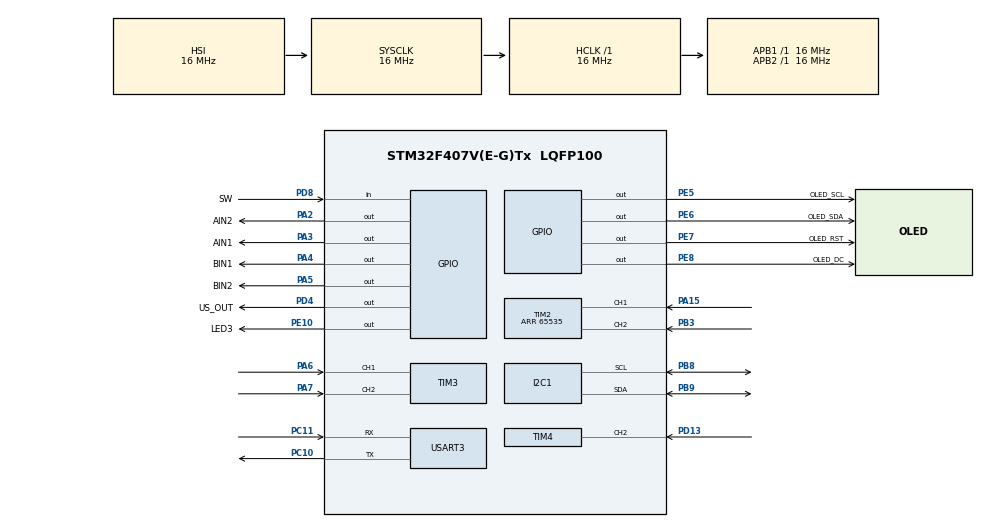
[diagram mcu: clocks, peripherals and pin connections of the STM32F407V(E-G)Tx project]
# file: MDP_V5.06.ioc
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Dma.Request0=USART3_RX
Dma.USART3_RX.0.Direction=DMA_PERIPH_TO_MEMORY
Dma.USART3_RX.0.FIFOMode=DMA_FIFOMODE_DISABLE
Dma.USART3_RX.0.Instance=DMA1_Stream1
Dma.USART3_RX.0.MemDataAlignment=DMA_MDATAALIGN_BYTE
Dma.USART3_RX.0.MemInc=DMA_MINC_ENABLE
Dma.USART3_RX.0.Mode=DMA_CIRCULAR
Dma.USART3_RX.0.PeriphDataAlignment=DMA_PDATAALIGN_BYTE
Dma.USART3_RX.0.PeriphInc=DMA_PINC_DISABLE
Dma.USART3_RX.0.Priority=DMA_PRIORITY_LOW
FREERTOS.Tasks01=defaultTask,8,128,StartDefaultTask,Default,NULL,Dynamic,NULL,NULL;DisplayTask,8,128,Display,Default,NULL,Dynamic,NULL,NULL;Motor_L,8,1024,LeftMotor,Default,NULL,Dynamic,NULL,NULL;GyroTask,8,1024,GyroFunc,Default,NULL,Dynamic,NULL,NULL;Ultrasonic,8,128,sonic_sensor,Default,NULL,Dynamic,NULL,NULL
Mcu.Family=STM32F4
Mcu.Name=STM32F407V(E-G)Tx
Mcu.Package=LQFP100
NVIC.DMA1_Stream1_IRQn=true\:5\:0\:false\:false\:true\:true\:false\:true
NVIC.PriorityGroup=NVIC_PRIORITYGROUP_4
NVIC.TIM4_IRQn=true\:5\:0\:false\:false\:true\:true\:true\:true
NVIC.USART3_IRQn=true\:5\:0\:false\:false\:true\:true\:true\:true
PA15.Signal=S_TIM2_CH1_ETR
PA2.GPIO_Label=AIN2
PA2.Signal=GPIO_Output
PA3.GPIO_Label=AIN1
PA3.Signal=GPIO_Output
PA4.GPIO_Label=BIN1
PA4.Signal=GPIO_Output
PA5.GPIO_Label=BIN2
PA5.Signal=GPIO_Output
PA6.Signal=S_TIM3_CH1
PA7.Signal=S_TIM3_CH2
PB3.Signal=S_TIM2_CH2
PB8.Mode=I2C
PB8.Signal=I2C1_SCL
PB9.Mode=I2C
PB9.Signal=I2C1_SDA
PC10.Mode=Asynchronous
PC10.Signal=USART3_TX
PC11.Mode=Asynchronous
PC11.Signal=USART3_RX
PC6.GPIO_Label=PWMA
PC6.Signal=S_TIM8_CH1
PC7.GPIO_Label=PWMB
PC7.Signal=S_TIM8_CH2
PD13.Signal=S_TIM4_CH2
PD4.GPIO_Label=US_OUT
PD4.Signal=GPIO_Output
PD8.GPIO_Label=SW
PD8.Signal=GPIO_Input
PE10.GPIO_Label=LED3
PE10.Signal=GPIO_Output
PE14.GPIO_Label=Servo
PE14.Signal=S_TIM1_CH4
PE5.GPIO_Label=OLED_SCL
PE5.Signal=GPIO_Output
PE6.GPIO_Label=OLED_SDA
PE6.Signal=GPIO_Output
PE7.GPIO_Label=OLED_RST
PE7.Signal=GPIO_Output
PE8.GPIO_Label=OLED_DC
PE8.Signal=GPIO_Output
PH0-OSC_IN.Mode=HSE-External-Oscillator
PH0-OSC_IN.Signal=RCC_OSC_IN
PH1-OSC_OUT.Mode=HSE-External-Oscillator
PH1-OSC_OUT.Signal=RCC_OSC_OUT
ProjectManager.HeapSize=0x200
ProjectManager.StackSize=0x400
ProjectManager.TargetToolchain=STM32CubeIDE
RCC.AHBFreq_Value=16000000
RCC.APB1Freq_Value=16000000
RCC.APB2Freq_Value=16000000
RCC.CortexFreq_Value=16000000
RCC.HSE_VALUE=25000000
RCC.HSI_VALUE=16000000
RCC.LSE_VALUE=32768
RCC.SYSCLKFreq_VALUE=16000000
RCC.VCOOutputFreq_Value=192000000
SH.S_TIM1_CH4.0=TIM1_CH4
SH.S_TIM2_CH1_ETR.0=TIM2_CH1,Encoder_Interface
SH.S_TIM2_CH2.0=TIM2_CH2,Encoder_Interface
SH.S_TIM3_CH1.0=TIM3_CH1,Encoder_Interface
SH.S_TIM3_CH2.0=TIM3_CH2,Encoder_Interface
SH.S_TIM4_CH2.0=TIM4_CH2,Input_Capture2_from_TI2
SH.S_TIM8_CH1.0=TIM8_CH1
SH.S_TIM8_CH2.0=TIM8_CH2
TIM1.Channel-PWM\ Generation4\ No\ Output=TIM_CHANNEL_4
TIM1.Period=1000
TIM1.Prescaler=160
TIM2.EncoderMode=TIM_ENCODERMODE_TI12
TIM2.IC1Filter=10
TIM2.IC2Filter=10
TIM2.Period=65535
TIM3.EncoderMode=TIM_ENCODERMODE_TI12
TIM3.IC1Filter=10
TIM3.IC2Filter=10
TIM4.Channel-Input_Capture2_from_TI2=TIM_CHANNEL_2
TIM4.Prescaler=16
TIM8.Channel-PWM\ Generation1\ No\ Output=TIM_CHANNEL_1
TIM8.Channel-PWM\ Generation2\ No\ Output=TIM_CHANNEL_2
TIM8.Period=7199
USART3.VirtualMode=VM_ASYNC
VP_FREERTOS_VS_CMSIS_V2.Mode=CMSIS_V2
VP_TIM1_VS_ClockSourceINT.Mode=Internal
VP_TIM1_VS_no_output4.Mode=PWM Generation4 No Output
VP_TIM8_VS_ClockSourceINT.Mode=Internal
VP_TIM8_VS_no_output1.Mode=PWM Generation1 No Output
VP_TIM8_VS_no_output2.Mode=PWM Generation2 No Output
board=custom

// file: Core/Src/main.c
/* USER CODE BEGIN Header */
/**
  ******************************************************************************
  * @file           : main.c
  * @brief          : Main program body
  ******************************************************************************
  * @attention
  *
  * Copyright (c) 2022 STMicroelectronics.
  * All rights reserved.
  *
  * This software is licensed under terms that can be found in the LICENSE file
  * in the root directory of this software component.
  * If no LICENSE file comes with this software, it is provided AS-IS.
  *
  ******************************************************************************
  */
/* USER CODE END Header */
#include "main.h"
#include "cmsis_os.h"

/* USER CODE BEGIN Includes */
#include "oled.h"
#include "ICM20948.h"
#include "math.h"
#include "pid.h"
#include "stdio.h"
/* USER CODE END Includes */

I2C_HandleTypeDef hi2c1;

TIM_HandleTypeDef htim1;
TIM_HandleTypeDef htim2;
TIM_HandleTypeDef htim3;
TIM_HandleTypeDef htim4;
TIM_HandleTypeDef htim8;

UART_HandleTypeDef huart3;
DMA_HandleTypeDef hdma_usart3_rx;

/* Definitions for defaultTask */
osThreadId_t defaultTaskHandle;
const osThreadAttr_t defaultTask_attributes =
{
    .name = "defaultTask",
    .stack_size = 128 * 4,
    .priority = (osPriority_t) osPriorityLow,
};
/* Definitions for DisplayTask */
osThreadId_t DisplayTaskHandle;
const osThreadAttr_t DisplayTask_attributes =
{
    .name = "DisplayTask",
    .stack_size = 128 * 4,
    .priority = (osPriority_t) osPriorityLow,
};
/* Definitions for Motor_L */
osThreadId_t Motor_LHandle;
const osThreadAttr_t Motor_L_attributes =
{
    .name = "Motor_L",
    .stack_size = 1024 * 4,
    .priority = (osPriority_t) osPriorityLow,
};
/* Definitions for GyroTask */
osThreadId_t GyroTaskHandle;
const osThreadAttr_t GyroTask_attributes =
{
    .name = "GyroTask",
    .stack_size = 1024 * 4,
    .priority = (osPriority_t) osPriorityLow,
};
/* Definitions for Ultrasonic */
osThreadId_t UltrasonicHandle;
const osThreadAttr_t Ultrasonic_attributes =
{
    .name = "Ultrasonic",
    .stack_size = 128 * 4,
    .priority = (osPriority_t) osPriorityLow,
};

void SystemClock_Config(void);
static void MX_GPIO_Init(void);
static void MX_DMA_Init(void);
static void MX_TIM8_Init(void);
static void MX_TIM2_Init(void);
static void MX_TIM1_Init(void);
static void MX_USART3_UART_Init(void);
static void MX_TIM3_Init(void);
static void MX_I2C1_Init(void);
static void MX_TIM4_Init(void);
void StartDefaultTask(void *argument);
void Display(void *argument);
void LeftMotor(void *argument);
void GyroFunc(void *argument);
void sonic_sensor(void *argument);

/* USER CODE BEGIN 0 */
double right_ratio = 0.4862681447, left_ratio = 0.46911519198;
uint16_t pwmVal = 12000, pwmVal_Turn = 4000;
double min_pwm_ratio = 0.3, min_pwm_turn = 0.3, max_pwm_dif = 0.5;
uint8_t Buffer[5];
int32_t heading_rbt = 0;
int32_t t_heading = 0;
double current_angle = 0, current_gyro = 0;

uint8_t is_calibrated = 0;

double travel_dist = 0;
int32_t encoder_position = 0;
ICM20948 imu;

PID_TypeDef Turning_PID, Straight_PID, StraightErr_PID;

uint32_t IC_Val1 = 0;
uint32_t IC_Val2 = 0;
uint32_t Difference = 0;
uint32_t Distance = 0;
uint32_t prevDistance[4] = {0};
uint8_t Is_First_Captured = 0;  // is the first value captured ?

void delay(uint16_t time)
{
    __HAL_TIM_SET_COUNTER(&htim4, 0);
    while (__HAL_TIM_GET_COUNTER (&htim4) < time);
}

void HAL_TIM_IC_CaptureCallback(TIM_HandleTypeDef *htim)
{
    if (htim->Channel == HAL_TIM_ACTIVE_CHANNEL_2)  // if the interrupt source is channel2
    {
        if (Is_First_Captured == 0) // if the first value is not captured
        {
            IC_Val1 = HAL_TIM_ReadCapturedValue(htim, TIM_CHANNEL_2); // read the first value
            Is_First_Captured = 1;  // set the first captured as true
            // Now change the polarity to falling edge
            __HAL_TIM_SET_CAPTUREPOLARITY(htim, TIM_CHANNEL_2, TIM_INPUTCHANNELPOLARITY_FALLING);
        }

        else if (Is_First_Captured == 1) // if the first is already captured
        {
            IC_Val2 = HAL_TIM_ReadCapturedValue(htim, TIM_CHANNEL_2);  // read second value
            __HAL_TIM_SET_COUNTER(htim, 0);  // reset the counter

            if (IC_Val2 > IC_Val1)
            {
                Difference = IC_Val2 - IC_Val1;
            }

            else if (IC_Val1 > IC_Val2)
            {
                Difference = (0xffff - IC_Val1) + IC_Val2;
            }
            prevDistance[2] = prevDistance[1];
            prevDistance[1] = prevDistance[0];
            prevDistance[0] = Difference * .034 / 2.0 * 150.0/137.0;

            // median filter
            if(prevDistance[1] <= prevDistance[0] && prevDistance[1] >= prevDistance[2])Distance = prevDistance[1];
			else if(prevDistance[1] <= prevDistance[2] && prevDistance[1] >= prevDistance[0])Distance = prevDistance[1];

			else if(prevDistance[0] <= prevDistance[2] && prevDistance[0] >= prevDistance[1])Distance = prevDistance[0];
			else if(prevDistance[0] <= prevDistance[2] && prevDistance[0] >= prevDistance[1])Distance = prevDistance[0];

			else if(prevDistance[2] <= prevDistance[0] && prevDistance[2] >= prevDistance[1])Distance = prevDistance[2];
			else Distance = prevDistance[2];

            Is_First_Captured = 0; // set it back to false

            // set polarity to rising edge
            __HAL_TIM_SET_CAPTUREPOLARITY(htim, TIM_CHANNEL_2, TIM_INPUTCHANNELPOLARITY_RISING);
            __HAL_TIM_DISABLE_IT(&htim4, TIM_IT_CC2);
        }
    }
}

void HCSR04_Read(void)
{
    HAL_GPIO_WritePin(US_OUT_GPIO_Port, US_OUT_Pin, GPIO_PIN_SET);  // pull the TRIG pin HIGH
    delay(10);  // wait for 10 us
    HAL_GPIO_WritePin(US_OUT_GPIO_Port, US_OUT_Pin, GPIO_PIN_RESET);  // pull the TRIG pin low

    __HAL_TIM_ENABLE_IT(&htim4, TIM_IT_CC2);
}
/* USER CODE END 0 */

int main(void)
{

    /* MCU Configuration--------------------------------------------------------*/

    /* Reset of all peripherals, Initializes the Flash interface and the Systick. */
    HAL_Init();

    /* USER CODE BEGIN Init */

    Buffer[0] = 'F';
    Buffer[1] = 'W';
    Buffer[2] = '0';
    Buffer[3] = '9';
    Buffer[4] = 'd';

    /* USER CODE END Init */

    /* Configure the system clock */
    SystemClock_Config();

    /* Initialize all configured peripherals */
    MX_GPIO_Init();
    MX_DMA_Init();
    MX_TIM8_Init();
    MX_TIM2_Init();
    MX_TIM1_Init();
    MX_USART3_UART_Init();
    MX_TIM3_Init();
    MX_I2C1_Init();
    MX_TIM4_Init();
    /* USER CODE BEGIN 2 */
    OLED_Init();
    CoreDebug->DEMCR |= CoreDebug_DEMCR_TRCENA_Msk;
    DWT->CYCCNT = 0;
    DWT->CTRL |= DWT_CTRL_CYCCNTENA_Msk;
    HAL_TIM_IC_Start_IT(&htim4, TIM_CHANNEL_2);
    /* USER CODE END 2 */

    /* Init scheduler */
    osKernelInitialize();

    /* Create the thread(s) */
    /* creation of defaultTask */
    defaultTaskHandle = osThreadNew(StartDefaultTask, NULL, &defaultTask_attributes);

    /* creation of DisplayTask */
    DisplayTaskHandle = osThreadNew(Display, NULL, &DisplayTask_attributes);

    /* creation of Motor_L */
    Motor_LHandle = osThreadNew(LeftMotor, NULL, &Motor_L_attributes);

    /* creation of GyroTask */
    GyroTaskHandle = osThreadNew(GyroFunc, NULL, &GyroTask_attributes);

    /* creation of Ultrasonic */
    UltrasonicHandle = osThreadNew(sonic_sensor, NULL, &Ultrasonic_attributes);

    /* Start scheduler */
    osKernelStart();

    /* We should never get here as control is now taken by the scheduler */
    /* Infinite loop */
    while (1)
    {

    }
}

void SystemClock_Config(void)
{
    RCC_OscInitTypeDef RCC_OscInitStruct = {0};
    RCC_ClkInitTypeDef RCC_ClkInitStruct = {0};

    /** Configure the main internal regulator output voltage
    */
    __HAL_RCC_PWR_CLK_ENABLE();
    __HAL_PWR_VOLTAGESCALING_CONFIG(PWR_REGULATOR_VOLTAGE_SCALE1);
    /** Initializes the RCC Oscillators according to the specified parameters
    * in the RCC_OscInitTypeDef structure.
    */
    RCC_OscInitStruct.OscillatorType = RCC_OSCILLATORTYPE_HSI;
    RCC_OscInitStruct.HSIState = RCC_HSI_ON;
    RCC_OscInitStruct.HSICalibrationValue = RCC_HSICALIBRATION_DEFAULT;
    RCC_OscInitStruct.PLL.PLLState = RCC_PLL_NONE;
    if (HAL_RCC_OscConfig(&RCC_OscInitStruct) != HAL_OK)
    {
        Error_Handler();
    }
    /** Initializes the CPU, AHB and APB buses clocks
    */
    RCC_ClkInitStruct.ClockType = RCC_CLOCKTYPE_HCLK | RCC_CLOCKTYPE_SYSCLK
                                  | RCC_CLOCKTYPE_PCLK1 | RCC_CLOCKTYPE_PCLK2;
    RCC_ClkInitStruct.SYSCLKSource = RCC_SYSCLKSOURCE_HSI;
    RCC_ClkInitStruct.AHBCLKDivider = RCC_SYSCLK_DIV1;
    RCC_ClkInitStruct.APB1CLKDivider = RCC_HCLK_DIV1;
    RCC_ClkInitStruct.APB2CLKDivider = RCC_HCLK_DIV1;

    if (HAL_RCC_ClockConfig(&RCC_ClkInitStruct, FLASH_LATENCY_0) != HAL_OK)
    {
        Error_Handler();
    }
}

static void MX_I2C1_Init(void)
{

    hi2c1.Instance = I2C1;
    hi2c1.Init.ClockSpeed = 100000;
    hi2c1.Init.DutyCycle = I2C_DUTYCYCLE_2;
    hi2c1.Init.OwnAddress1 = 0;
    hi2c1.Init.AddressingMode = I2C_ADDRESSINGMODE_7BIT;
    hi2c1.Init.DualAddressMode = I2C_DUALADDRESS_DISABLE;
    hi2c1.Init.OwnAddress2 = 0;
    hi2c1.Init.GeneralCallMode = I2C_GENERALCALL_DISABLE;
    hi2c1.Init.NoStretchMode = I2C_NOSTRETCH_DISABLE;
    if (HAL_I2C_Init(&hi2c1) != HAL_OK)
    {
        Error_Handler();
    }

}

static void MX_TIM1_Init(void)
{

    TIM_ClockConfigTypeDef sClockSourceConfig = {0};
    TIM_MasterConfigTypeDef sMasterConfig = {0};
    TIM_OC_InitTypeDef sConfigOC = {0};
    TIM_BreakDeadTimeConfigTypeDef sBreakDeadTimeConfig = {0};

    htim1.Instance = TIM1;
    htim1.Init.Prescaler = 160;
    htim1.Init.CounterMode = TIM_COUNTERMODE_UP;
    htim1.Init.Period = 1000;
    htim1.Init.ClockDivision = TIM_CLOCKDIVISION_DIV1;
    htim1.Init.RepetitionCounter = 0;
    htim1.Init.AutoReloadPreload = TIM_AUTORELOAD_PRELOAD_DISABLE;
    if (HAL_TIM_Base_Init(&htim1) != HAL_OK)
    {
        Error_Handler();
    }
    sClockSourceConfig.ClockSource = TIM_CLOCKSOURCE_INTERNAL;
    if (HAL_TIM_ConfigClockSource(&htim1, &sClockSourceConfig) != HAL_OK)
    {
        Error_Handler();
    }
    if (HAL_TIM_PWM_Init(&htim1) != HAL_OK)
    {
        Error_Handler();
    }
    sMasterConfig.MasterOutputTrigger = TIM_TRGO_RESET;
    sMasterConfig.MasterSlaveMode = TIM_MASTERSLAVEMODE_DISABLE;
    if (HAL_TIMEx_MasterConfigSynchronization(&htim1, &sMasterConfig) != HAL_OK)
    {
        Error_Handler();
    }
    sConfigOC.OCMode = TIM_OCMODE_PWM1;
    sConfigOC.Pulse = 0;
    sConfigOC.OCPolarity = TIM_OCPOLARITY_HIGH;
    sConfigOC.OCFastMode = TIM_OCFAST_DISABLE;
    sConfigOC.OCIdleState = TIM_OCIDLESTATE_RESET;
    sConfigOC.OCNIdleState = TIM_OCNIDLESTATE_RESET;
    if (HAL_TIM_PWM_ConfigChannel(&htim1, &sConfigOC, TIM_CHANNEL_4) != HAL_OK)
    {
        Error_Handler();
    }
    sBreakDeadTimeConfig.OffStateRunMode = TIM_OSSR_DISABLE;
    sBreakDeadTimeConfig.OffStateIDLEMode = TIM_OSSI_DISABLE;
    sBreakDeadTimeConfig.LockLevel = TIM_LOCKLEVEL_OFF;
    sBreakDeadTimeConfig.DeadTime = 0;
    sBreakDeadTimeConfig.BreakState = TIM_BREAK_DISABLE;
    sBreakDeadTimeConfig.BreakPolarity = TIM_BREAKPOLARITY_HIGH;
    sBreakDeadTimeConfig.AutomaticOutput = TIM_AUTOMATICOUTPUT_DISABLE;
    if (HAL_TIMEx_ConfigBreakDeadTime(&htim1, &sBreakDeadTimeConfig) != HAL_OK)
    {
        Error_Handler();
    }

}

static void MX_TIM2_Init(void)
{

    TIM_Encoder_InitTypeDef sConfig = {0};
    TIM_MasterConfigTypeDef sMasterConfig = {0};

    htim2.Instance = TIM2;
    htim2.Init.Prescaler = 0;
    htim2.Init.CounterMode = TIM_COUNTERMODE_UP;
    htim2.Init.Period = 65535;
    htim2.Init.ClockDivision = TIM_CLOCKDIVISION_DIV1;
    htim2.Init.AutoReloadPreload = TIM_AUTORELOAD_PRELOAD_DISABLE;
    sConfig.EncoderMode = TIM_ENCODERMODE_TI12;
    sConfig.IC1Polarity = TIM_ICPOLARITY_RISING;
    sConfig.IC1Selection = TIM_ICSELECTION_DIRECTTI;
    sConfig.IC1Prescaler = TIM_ICPSC_DIV1;
    sConfig.IC1Filter = 10;
    sConfig.IC2Polarity = TIM_ICPOLARITY_RISING;
    sConfig.IC2Selection = TIM_ICSELECTION_DIRECTTI;
    sConfig.IC2Prescaler = TIM_ICPSC_DIV1;
    sConfig.IC2Filter = 10;
    if (HAL_TIM_Encoder_Init(&htim2, &sConfig) != HAL_OK)
    {
        Error_Handler();
    }
    sMasterConfig.MasterOutputTrigger = TIM_TRGO_RESET;
    sMasterConfig.MasterSlaveMode = TIM_MASTERSLAVEMODE_DISABLE;
    if (HAL_TIMEx_MasterConfigSynchronization(&htim2, &sMasterConfig) != HAL_OK)
    {
        Error_Handler();
    }

}

static void MX_TIM3_Init(void)
{

    TIM_Encoder_InitTypeDef sConfig = {0};
    TIM_MasterConfigTypeDef sMasterConfig = {0};

    htim3.Instance = TIM3;
    htim3.Init.Prescaler = 0;
    htim3.Init.CounterMode = TIM_COUNTERMODE_UP;
    htim3.Init.Period = 65535;
    htim3.Init.ClockDivision = TIM_CLOCKDIVISION_DIV1;
    htim3.Init.AutoReloadPreload = TIM_AUTORELOAD_PRELOAD_DISABLE;
    sConfig.EncoderMode = TIM_ENCODERMODE_TI12;
    sConfig.IC1Polarity = TIM_ICPOLARITY_RISING;
    sConfig.IC1Selection = TIM_ICSELECTION_DIRECTTI;
    sConfig.IC1Prescaler = TIM_ICPSC_DIV1;
    sConfig.IC1Filter = 10;
    sConfig.IC2Polarity = TIM_ICPOLARITY_RISING;
    sConfig.IC2Selection = TIM_ICSELECTION_DIRECTTI;
    sConfig.IC2Prescaler = TIM_ICPSC_DIV1;
    sConfig.IC2Filter = 10;
    if (HAL_TIM_Encoder_Init(&htim3, &sConfig) != HAL_OK)
    {
        Error_Handler();
    }
    sMasterConfig.MasterOutputTrigger = TIM_TRGO_RESET;
    sMasterConfig.MasterSlaveMode = TIM_MASTERSLAVEMODE_DISABLE;
    if (HAL_TIMEx_MasterConfigSynchronization(&htim3, &sMasterConfig) != HAL_OK)
    {
        Error_Handler();
    }

}

static void MX_TIM4_Init(void)
{

    TIM_MasterConfigTypeDef sMasterConfig = {0};
    TIM_IC_InitTypeDef sConfigIC = {0};

    htim4.Instance = TIM4;
    htim4.Init.Prescaler = 16;
    htim4.Init.CounterMode = TIM_COUNTERMODE_UP;
    htim4.Init.Period = 65535;
    htim4.Init.ClockDivision = TIM_CLOCKDIVISION_DIV1;
    htim4.Init.AutoReloadPreload = TIM_AUTORELOAD_PRELOAD_DISABLE;
    if (HAL_TIM_IC_Init(&htim4) != HAL_OK)
    {
        Error_Handler();
    }
    sMasterConfig.MasterOutputTrigger = TIM_TRGO_RESET;
    sMasterConfig.MasterSlaveMode = TIM_MASTERSLAVEMODE_DISABLE;
    if (HAL_TIMEx_MasterConfigSynchronization(&htim4, &sMasterConfig) != HAL_OK)
    {
        Error_Handler();
    }
    sConfigIC.ICPolarity = TIM_INPUTCHANNELPOLARITY_RISING;
    sConfigIC.ICSelection = TIM_ICSELECTION_DIRECTTI;
    sConfigIC.ICPrescaler = TIM_ICPSC_DIV1;
    sConfigIC.ICFilter = 0;
    if (HAL_TIM_IC_ConfigChannel(&htim4, &sConfigIC, TIM_CHANNEL_2) != HAL_OK)
    {
        Error_Handler();
    }

}

static void MX_TIM8_Init(void)
{

    TIM_ClockConfigTypeDef sClockSourceConfig = {0};
    TIM_MasterConfigTypeDef sMasterConfig = {0};
    TIM_OC_InitTypeDef sConfigOC = {0};
    TIM_BreakDeadTimeConfigTypeDef sBreakDeadTimeConfig = {0};

    htim8.Instance = TIM8;
    htim8.Init.Prescaler = 0;
    htim8.Init.CounterMode = TIM_COUNTERMODE_UP;
    htim8.Init.Period = 7199;
    htim8.Init.ClockDivision = TIM_CLOCKDIVISION_DIV1;
    htim8.Init.RepetitionCounter = 0;
    htim8.Init.AutoReloadPreload = TIM_AUTORELOAD_PRELOAD_DISABLE;
    if (HAL_TIM_Base_Init(&htim8) != HAL_OK)
    {
        Error_Handler();
    }
    sClockSourceConfig.ClockSource = TIM_CLOCKSOURCE_INTERNAL;
    if (HAL_TIM_ConfigClockSource(&htim8, &sClockSourceConfig) != HAL_OK)
    {
        Error_Handler();
    }
    if (HAL_TIM_PWM_Init(&htim8) != HAL_OK)
    {
        Error_Handler();
    }
    sMasterConfig.MasterOutputTrigger = TIM_TRGO_RESET;
    sMasterConfig.MasterSlaveMode = TIM_MASTERSLAVEMODE_DISABLE;
    if (HAL_TIMEx_MasterConfigSynchronization(&htim8, &sMasterConfig) != HAL_OK)
    {
        Error_Handler();
    }
    sConfigOC.OCMode = TIM_OCMODE_PWM1;
    sConfigOC.Pulse = 0;
    sConfigOC.OCPolarity = TIM_OCPOLARITY_HIGH;
    sConfigOC.OCNPolarity = TIM_OCNPOLARITY_HIGH;
    sConfigOC.OCFastMode = TIM_OCFAST_DISABLE;
    sConfigOC.OCIdleState = TIM_OCIDLESTATE_RESET;
    sConfigOC.OCNIdleState = TIM_OCNIDLESTATE_RESET;
    if (HAL_TIM_PWM_ConfigChannel(&htim8, &sConfigOC, TIM_CHANNEL_1) != HAL_OK)
    {
        Error_Handler();
    }
    if (HAL_TIM_PWM_ConfigChannel(&htim8, &sConfigOC, TIM_CHANNEL_2) != HAL_OK)
    {
        Error_Handler();
    }
    sBreakDeadTimeConfig.OffStateRunMode = TIM_OSSR_DISABLE;
    sBreakDeadTimeConfig.OffStateIDLEMode = TIM_OSSI_DISABLE;
    sBreakDeadTimeConfig.LockLevel = TIM_LOCKLEVEL_OFF;
    sBreakDeadTimeConfig.DeadTime = 0;
    sBreakDeadTimeConfig.BreakState = TIM_BREAK_DISABLE;
    sBreakDeadTimeConfig.BreakPolarity = TIM_BREAKPOLARITY_HIGH;
    sBreakDeadTimeConfig.AutomaticOutput = TIM_AUTOMATICOUTPUT_DISABLE;
    if (HAL_TIMEx_ConfigBreakDeadTime(&htim8, &sBreakDeadTimeConfig) != HAL_OK)
    {
        Error_Handler();
    }

}

static void MX_USART3_UART_Init(void)
{

    huart3.Instance = USART3;
    huart3.Init.BaudRate = 115200;
    huart3.Init.WordLength = UART_WORDLENGTH_8B;
    huart3.Init.StopBits = UART_STOPBITS_1;
    huart3.Init.Parity = UART_PARITY_NONE;
    huart3.Init.Mode = UART_MODE_TX_RX;
    huart3.Init.HwFlowCtl = UART_HWCONTROL_NONE;
    huart3.Init.OverSampling = UART_OVERSAMPLING_16;
    if (HAL_UART_Init(&huart3) != HAL_OK)
    {
        Error_Handler();
    }

}

static void MX_DMA_Init(void)
{

    /* DMA controller clock enable */
    __HAL_RCC_DMA1_CLK_ENABLE();

    /* DMA interrupt init */
    /* DMA1_Stream1_IRQn interrupt configuration */
    HAL_NVIC_SetPriority(DMA1_Stream1_IRQn, 5, 0);
    HAL_NVIC_EnableIRQ(DMA1_Stream1_IRQn);

}

static void MX_GPIO_Init(void)
{
    GPIO_InitTypeDef GPIO_InitStruct = {0};

    /* GPIO Ports Clock Enable */
    __HAL_RCC_GPIOE_CLK_ENABLE();
    __HAL_RCC_GPIOH_CLK_ENABLE();
    __HAL_RCC_GPIOA_CLK_ENABLE();
    __HAL_RCC_GPIOD_CLK_ENABLE();
    __HAL_RCC_GPIOC_CLK_ENABLE();
    __HAL_RCC_GPIOB_CLK_ENABLE();

    /*Configure GPIO pin Output Level */
    HAL_GPIO_WritePin(GPIOE, OLED_SCL_Pin | OLED_SDA_Pin | OLED_RST_Pin | OLED_DC_Pin
                      | LED3_Pin, GPIO_PIN_RESET);

    /*Configure GPIO pin Output Level */
    HAL_GPIO_WritePin(GPIOA, AIN2_Pin | AIN1_Pin | BIN1_Pin | BIN2_Pin, GPIO_PIN_RESET);

    /*Configure GPIO pin Output Level */
    HAL_GPIO_WritePin(US_OUT_GPIO_Port, US_OUT_Pin, GPIO_PIN_RESET);

    /*Configure GPIO pins : OLED_SCL_Pin OLED_SDA_Pin OLED_RST_Pin OLED_DC_Pin
                             LED3_Pin */
    GPIO_InitStruct.Pin = OLED_SCL_Pin | OLED_SDA_Pin | OLED_RST_Pin | OLED_DC_Pin
                          | LED3_Pin;
    GPIO_InitStruct.Mode = GPIO_MODE_OUTPUT_PP;
    GPIO_InitStruct.Pull = GPIO_NOPULL;
    GPIO_InitStruct.Speed = GPIO_SPEED_FREQ_LOW;
    HAL_GPIO_Init(GPIOE, &GPIO_InitStruct);

    /*Configure GPIO pins : AIN2_Pin AIN1_Pin BIN1_Pin BIN2_Pin */
    GPIO_InitStruct.Pin = AIN2_Pin | AIN1_Pin | BIN1_Pin | BIN2_Pin;
    GPIO_InitStruct.Mode = GPIO_MODE_OUTPUT_PP;
    GPIO_InitStruct.Pull = GPIO_NOPULL;
    GPIO_InitStruct.Speed = GPIO_SPEED_FREQ_LOW;
    HAL_GPIO_Init(GPIOA, &GPIO_InitStruct);

    /*Configure GPIO pin : SW_Pin */
    GPIO_InitStruct.Pin = SW_Pin;
    GPIO_InitStruct.Mode = GPIO_MODE_INPUT;
    GPIO_InitStruct.Pull = GPIO_NOPULL;
    HAL_GPIO_Init(SW_GPIO_Port, &GPIO_InitStruct);

    /*Configure GPIO pin : US_OUT_Pin */
    GPIO_InitStruct.Pin = US_OUT_Pin;
    GPIO_InitStruct.Mode = GPIO_MODE_OUTPUT_PP;
    GPIO_InitStruct.Pull = GPIO_NOPULL;
    GPIO_InitStruct.Speed = GPIO_SPEED_FREQ_LOW;
    HAL_GPIO_Init(US_OUT_GPIO_Port, &GPIO_InitStruct);

}

/* USER CODE BEGIN 4 */
uint8_t is_right(int32_t head1, int32_t head2)
{
    if(head2 > head1 && head2 - head1 < 18000) return 1;
    else if(head2 < head1 && head2 + 36000 - head1 < 18000)return 1;
    return 0;
}
/* USER CODE END 4 */

void StartDefaultTask(void *argument)
{
    /* USER CODE BEGIN 5 */
    uint8_t hello[20];
    /* Infinite loop */
    //  HAL_UART_Receive_IT(&huart3,(uint8_t *) Buffer,5);
    for(;;)
    {

        sprintf(hello, "buff:%s", Buffer);
        OLED_ShowString(10, 20, hello);
        HAL_GPIO_TogglePin(LED3_GPIO_Port, LED3_Pin);
        osDelay(1);
    }
    /* USER CODE END 5 */
}

void Display(void *argument)
{
    /* USER CODE BEGIN Display */
    uint8_t hello[20] = "testV5!\0";
    /* Infinite loop */
    for(;;)
    {
        sprintf(hello, "ver5.05 fast");
        OLED_ShowString(10, 10, hello);
        OLED_Refresh_Gram();
        osDelay(1);
    }
    /* USER CODE END Display */
}

/* USER CODE BEGIN Header_LeftMotor */
double PID_out;
uint8_t prevTurn = 1;
uint16_t savedDistances[10] = {0};
/**
* @brief Function implementing the Motor_L thread.
* @param argument: Not used
* @retval None
*/
/* USER CODE END Header_LeftMotor */
void LeftMotor(void *argument)
{
    /* USER CODE BEGIN LeftMotor */

    HAL_TIM_PWM_Start(&htim8, TIM_CHANNEL_1);
    HAL_TIM_PWM_Start(&htim8, TIM_CHANNEL_2);
    HAL_TIM_PWM_Start(&htim1, TIM_CHANNEL_4);

    uint8_t hello[20];

    int16_t value, idx;

    while(!is_calibrated)
    {
        osDelay(100);
    }
    htim1.Instance ->CCR4 = 148.4;

    double target_angle = 90;
    uint8_t target_is_before = 0, distance_measure_mode = 0;

    double left_pwm = 0, right_pwm = 0;
    double PID_dist;

    double target_dist = 0;
    double slip_x = 0, slip_y = 0;

    char sbuf[10];
    t_heading = current_angle;
    HAL_UART_Receive_DMA (&huart3, Buffer, 5);
    /* Infinite loop */
    for(;;)
    {
        // Loop until next command is received
        do
        {
            osDelay(80);
        }
        while(Buffer[0] == 'd' || Buffer[1] == 'd' || Buffer[2] == 'd' || Buffer[3] == 'd' || Buffer[4] == 'd');
        distance_measure_mode = 0;
        // Convert instruction value to int
        value = (Buffer[2] - '0') * 100 + (Buffer[3] - '0') * 10 + Buffer[4] - '0';

        if(Buffer[0] == 'D' && Buffer[1] == 'M')
        {
        	osDelay(300);
        	taskENTER_CRITICAL();
        	idx = Buffer[2] - '0';
        	value = Distance - ((Buffer[3] - '0') * 10 + Buffer[4] - '0');
        	savedDistances[idx] = value;
        	Buffer[0] = 'F';
        	Buffer[1] = 'W';
        	Buffer[2] = (uint8_t)(value/100)%10 + '0';
        	Buffer[3] = (uint8_t)(value/10)%10 + '0';
        	Buffer[4] = (uint8_t)value%10 + '0';
        	taskEXIT_CRITICAL();

        }
        else if(Buffer[0] == 'D' && Buffer[1] == 'R')
        {
        	taskENTER_CRITICAL();
        	idx = Buffer[2] - '0';
        	Buffer[0] = 'F';
        	Buffer[1] = 'W';
        	value = savedDistances[idx] + ((Buffer[3] - '0') * 10 + Buffer[4] - '0');
        	Buffer[2] = (uint8_t)(value/100)%10 + '0';
			Buffer[3] = (uint8_t)(value/10)%10 + '0';
			Buffer[4] = (uint8_t)value%10 + '0';
			taskEXIT_CRITICAL();
        }

        // For counter-clockwise turning
        if((Buffer[0] == 'F' && Buffer[1] == 'L') || (Buffer[0] == 'B' && Buffer[1] == 'R'))
        {
            t_heading = t_heading - value;  // Set target heading
            target_angle = (double)t_heading;
            target_is_before = 1;
        }
        // For clockwise turning
        else if ((Buffer[0] == 'F' && Buffer[1] == 'R') || (Buffer[0] == 'B' && Buffer[1] == 'L'))
        {
            t_heading = t_heading + value;
            target_angle = (double)t_heading;
            target_is_before = 0;
        }
        else if(Buffer[1] == 'W')
        {
            target_angle = (double)t_heading;
        }

        // Set servo values
        if(Buffer[1] == 'L')
        {
            htim1.Instance ->CCR4 = 91;
            if(prevTurn == 2)
            {
            	osDelay(500);
            }
            else if(prevTurn == 1)
            {
            	osDelay(270);
            }
            prevTurn = 0;
        }
        else if(Buffer[1] == 'R')
        {
            htim1.Instance ->CCR4 = 240;
            if(prevTurn == 0)
			{
				osDelay(500);
			}
			else if(prevTurn == 1)
			{
				osDelay(270);
			}
            prevTurn = 2;
        }
        else
        {
            htim1.Instance ->CCR4 = 148.4;
            if(prevTurn == 2 || prevTurn == 0)
			{
				osDelay(270);
			}
            prevTurn = 1;
        }
        // If currently running turning instruction
        if(Buffer[1] != 'W')
        {
            PID_out = 0;
            // Set PID Controller (constants are Kp,Ki,Kd)
            PID(&Turning_PID, &current_angle, &PID_out, &target_angle, 0.021, 0.1, 0.0, _PID_P_ON_E, _PID_CD_DIRECT);

            PID_SetMode(&Turning_PID, _PID_MODE_AUTOMATIC);
            PID_SetSampleTime(&Turning_PID, 10);
            PID_SetOutputLimits(&Turning_PID, -1.0f + min_pwm_turn, 1.0f - min_pwm_turn);

            // For debugging
            //    sprintf(sbuf, "%d ", (int)target_angle);
            //    HAL_UART_Transmit(&huart3, (uint8_t *)sbuf, sizeof(sbuf), HAL_MAX_DELAY);
            //    sprintf(sbuf, "%d", (int)(-1.0f*(double)target_is_before)*(target_angle - current_angle));
            //    HAL_UART_Transmit(&huart3, (uint8_t *)sbuf, sizeof(sbuf), HAL_MAX_DELAY);
            //    HAL_UART_Transmit(&huart3, (uint8_t *)"\r\n", 2, HAL_MAX_DELAY);

            // Loop until robot's heading passes target heading
            while(2 * (0.5f - (double)target_is_before) * (target_angle - current_angle) > 0)
            {
                // Blinking LED for checking program crashes
                HAL_GPIO_TogglePin(LED3_GPIO_Port, LED3_Pin);

                // Compute next pwm val
                PID_Compute(&Turning_PID);

                taskENTER_CRITICAL();
                // If steering left
                if(Buffer[1] == 'L')
                {
                    // Forward
                    if(PID_out < 0)
                    {
                        HAL_GPIO_WritePin(GPIOA, AIN2_Pin, GPIO_PIN_RESET);
                        HAL_GPIO_WritePin(GPIOA, AIN1_Pin, GPIO_PIN_SET);
                        HAL_GPIO_WritePin(GPIOA, BIN2_Pin, GPIO_PIN_RESET);
                        HAL_GPIO_WritePin(GPIOA, BIN1_Pin, GPIO_PIN_SET);

                        // Set motor speed to minimum power +/- PID output
//                        if(2 * (0.5f - (double)target_is_before) * (target_angle - current_angle) < 10)
//						{
//							__HAL_TIM_SetCompare(&htim8, TIM_CHANNEL_1, (double)pwmVal_Turn * left_ratio * min_pwm_turn * 0.6);
//							__HAL_TIM_SetCompare(&htim8, TIM_CHANNEL_2, (double)pwmVal_Turn * min_pwm_turn * 0.6);
//						}
                        if(2 * (0.5f - (double)target_is_before) * (target_angle - current_angle) < 30)
                        {
                            __HAL_TIM_SetCompare(&htim8, TIM_CHANNEL_1, (double)pwmVal_Turn * left_ratio * min_pwm_turn);
                            __HAL_TIM_SetCompare(&htim8, TIM_CHANNEL_2, (double)pwmVal_Turn * min_pwm_turn);
                        }
                        else
                        {
                            __HAL_TIM_SetCompare(&htim8, TIM_CHANNEL_1, (double)pwmVal_Turn * left_ratio * (-PID_out + min_pwm_turn));
                            __HAL_TIM_SetCompare(&htim8, TIM_CHANNEL_2, (double)pwmVal_Turn * (-PID_out + min_pwm_turn));
                        }
                    }
                    // Backwards
                    else
                    {
                        HAL_GPIO_WritePin(GPIOA, AIN1_Pin, GPIO_PIN_RESET);
                        HAL_GPIO_WritePin(GPIOA, AIN2_Pin, GPIO_PIN_SET);
                        HAL_GPIO_WritePin(GPIOA, BIN1_Pin, GPIO_PIN_RESET);
                        HAL_GPIO_WritePin(GPIOA, BIN2_Pin, GPIO_PIN_SET);

                        // Set motor speed to minimum power +/- PID output
//                        if(2 * (0.5f - (double)target_is_before) * (target_angle - current_angle) < 10)
//						{
//							__HAL_TIM_SetCompare(&htim8, TIM_CHANNEL_1, (double)pwmVal_Turn * left_ratio * min_pwm_turn * 0.6);
//							__HAL_TIM_SetCompare(&htim8, TIM_CHANNEL_2, (double)pwmVal_Turn * min_pwm_turn * 0.6);
//						}
                        if(2 * (0.5f - (double)target_is_before) * (target_angle - current_angle) < 30)
                        {
                            __HAL_TIM_SetCompare(&htim8, TIM_CHANNEL_1, (double)pwmVal_Turn * left_ratio * min_pwm_turn);
                            __HAL_TIM_SetCompare(&htim8, TIM_CHANNEL_2, (double)pwmVal_Turn * min_pwm_turn);
                        }
                        else
                        {
                            __HAL_TIM_SetCompare(&htim8, TIM_CHANNEL_1, (double)pwmVal_Turn * left_ratio * (PID_out + min_pwm_turn));
                            __HAL_TIM_SetCompare(&htim8, TIM_CHANNEL_2, (double)pwmVal_Turn * (PID_out + min_pwm_turn));
                        }
                    }
                }
                // If steering right
                else if(Buffer[1] == 'R')
                {
                    // Backwards
                    if(PID_out < 0)
                    {
                        HAL_GPIO_WritePin(GPIOA, AIN1_Pin, GPIO_PIN_RESET);
                        HAL_GPIO_WritePin(GPIOA, AIN2_Pin, GPIO_PIN_SET);
                        HAL_GPIO_WritePin(GPIOA, BIN1_Pin, GPIO_PIN_RESET);
                        HAL_GPIO_WritePin(GPIOA, BIN2_Pin, GPIO_PIN_SET);

                        // Set motor speed to minimum power +/- PID output
//                        if(2 * (0.5f - (double)target_is_before) * (target_angle - current_angle) < 10)
//						{
//							__HAL_TIM_SetCompare(&htim8, TIM_CHANNEL_1, (double)pwmVal_Turn * min_pwm_turn * 0.6);
//							__HAL_TIM_SetCompare(&htim8, TIM_CHANNEL_2, (double)pwmVal_Turn * right_ratio * min_pwm_turn * 0.6);
//						}
                        if(2 * (0.5f - (double)target_is_before) * (target_angle - current_angle) < 30)
                        {
                            __HAL_TIM_SetCompare(&htim8, TIM_CHANNEL_1, (double)pwmVal_Turn * min_pwm_turn);
                            __HAL_TIM_SetCompare(&htim8, TIM_CHANNEL_2, (double)pwmVal_Turn * right_ratio * min_pwm_turn);
                        }
                        else
                        {
                            __HAL_TIM_SetCompare(&htim8, TIM_CHANNEL_1, (double)pwmVal_Turn * (-PID_out + min_pwm_turn));
                            __HAL_TIM_SetCompare(&htim8, TIM_CHANNEL_2, (double)pwmVal_Turn * right_ratio * (-PID_out + min_pwm_turn));
                        }
                    }
                    // Forwards
                    else
                    {
                        HAL_GPIO_WritePin(GPIOA, AIN2_Pin, GPIO_PIN_RESET);
                        HAL_GPIO_WritePin(GPIOA, AIN1_Pin, GPIO_PIN_SET);
                        HAL_GPIO_WritePin(GPIOA, BIN2_Pin, GPIO_PIN_RESET);
                        HAL_GPIO_WritePin(GPIOA, BIN1_Pin, GPIO_PIN_SET);

                        // Set motor speed to minimum power +/- PID output
//                        if(2 * (0.5f - (double)target_is_before) * (target_angle - current_angle) < 10)
//						{
//							__HAL_TIM_SetCompare(&htim8, TIM_CHANNEL_1, (double)pwmVal_Turn * min_pwm_turn * 0.6);
//							__HAL_TIM_SetCompare(&htim8, TIM_CHANNEL_2, (double)pwmVal_Turn * right_ratio * min_pwm_turn * 0.6);
//						}
                        if(2 * (0.5f - (double)target_is_before) * (target_angle - current_angle) < 30)
                        {
                            __HAL_TIM_SetCompare(&htim8, TIM_CHANNEL_1, (double)pwmVal_Turn * min_pwm_turn);
                            __HAL_TIM_SetCompare(&htim8, TIM_CHANNEL_2, (double)pwmVal_Turn * right_ratio * min_pwm_turn);
                        }
                        else
                        {
                            __HAL_TIM_SetCompare(&htim8, TIM_CHANNEL_1, (double)pwmVal_Turn * (PID_out + min_pwm_turn));
                            __HAL_TIM_SetCompare(&htim8, TIM_CHANNEL_2, (double)pwmVal_Turn * right_ratio * (PID_out + min_pwm_turn));
                        }
                    }
                }
                taskEXIT_CRITICAL();

                // Loops every 10ms
                osDelayUntil(pdMS_TO_TICKS(10));
            }
            // Set both motor's speed to 0
            taskENTER_CRITICAL();
            __HAL_TIM_SetCompare(&htim8, TIM_CHANNEL_1, 0);
            __HAL_TIM_SetCompare(&htim8, TIM_CHANNEL_2, 0);
            taskEXIT_CRITICAL();
        }
        // If currently running straight line instruction
        else
        {
            // Reset traveled distance to 0
            travel_dist = 0;
            encoder_position = 0;
            if(Buffer[0] == 'F')
            {
                HAL_GPIO_WritePin(GPIOA, AIN2_Pin, GPIO_PIN_RESET);
                HAL_GPIO_WritePin(GPIOA, AIN1_Pin, GPIO_PIN_SET);
                HAL_GPIO_WritePin(GPIOA, BIN2_Pin, GPIO_PIN_RESET);
                HAL_GPIO_WritePin(GPIOA, BIN1_Pin, GPIO_PIN_SET);
                target_is_before = 1;
                //        target_dist = (double)value * 100.0/102.5;
                target_dist = (double)value * 1.01;
                //        if(value == 1){
                //          target_dist = 0.79;
                //        }
                //        else if(value == 2){
                //          target_dist = 1.51;
                //        }
                //        else if(value == 3){
                //          target_dist = 2.21;
                //        }
                //        else if(value == 4){
                //          target_dist = 3.02;
                //        }
                //        else if(value == 5){
                //          target_dist = 3.82;
                //        }
                //        else if(value <= 10){
                //          target_dist = 3.82 + (8.51-3.82)*((double)value - 5.0)/5.0;
                //        }
                //        else if(value <= 20){
                //          target_dist = 8.51 + (18.15-8.51)*((double)value - 10.0)/10.0;
                //        }
                //        else if(value <= 30){
                //          target_dist = 18.15 + (27.87-18.15)*((double)value - 20.0)/10.0;
                //        }
                //        else if(value <= 40){
                //          target_dist = 27.87 + (37.48-27.87)*((double)value - 30.0)/10.0;
                //        }
                //        else if(value <= 50){
                //          target_dist = 37.48 + (47.48-37.48)*((double)value - 40.0)/10.0;
                //        }
                //        else if(value <= 70){
                //          target_dist = 47.48 + (67.26-47.48)*((double)value - 50.0)/20.0;
                //        }
                //        else if(value <= 100){
                //          target_dist = 67.26 + (95.33-67.26)*((double)value - 100.0)/30.0;
                //        }
                //        else{
                //          target_dist = (double)value - 5.0;
                //        }
                //        if(value <= 5){
                //          target_dist = (double)value + 0.5;
                //        }
                //        else if(value <= 50){
                //          target_dist = (double)value * 50.0/52.5;
                //        }
                //        else if(value < 70){
                //          target_dist = (double)value * (double)value/((double)value + (2.5 + (3.0 - 2.5)*(((double)value) - 50)/(70 - 50)));
                //        }
                //        else if(value < 100){
                //          target_dist = (double)value * (double)value/((double)value + (3.0 + (5.0 - 3.0)*(((double)value) - 70)/(100 - 70)));
                //        }
                //        else{
                //          target_dist = (double)value * 100.0/105.0;
                //        }
            }
            else if(Buffer[0] == 'B')
            {
                HAL_GPIO_WritePin(GPIOA, AIN1_Pin, GPIO_PIN_RESET);
                HAL_GPIO_WritePin(GPIOA, AIN2_Pin, GPIO_PIN_SET);
                HAL_GPIO_WritePin(GPIOA, BIN1_Pin, GPIO_PIN_RESET);
                HAL_GPIO_WritePin(GPIOA, BIN2_Pin, GPIO_PIN_SET);
                target_is_before = 0;
                //        target_dist = -(double)value * 100.0/102.5;
                target_dist = -(double)value * 1.01;
                //        if(value == 1){
                //          target_dist = -0.79;
                //        }
                //        else if(value == 2){
                //          target_dist = -1.51;
                //        }
                //        else if(value == 3){
                //          target_dist = -2.21;
                //        }
                //        else if(value == 4){
                //          target_dist = -3.02;
                //        }
                //        else if(value == 5){
                //          target_dist = -3.82;
                //        }
                //        else if(value <= 10){
                //          target_dist = -(3.82 + (8.51-3.82)*((double)value - 5.0)/5.0);
                //        }
                //        else if(value <= 20){
                //          target_dist = -(8.51 + (18.15-8.51)*((double)value - 10.0)/10.0);
                //        }
                //        else if(value <= 30){
                //          target_dist = -(18.15 + (27.87-18.15)*((double)value - 20.0)/10.0);
                //        }
                //        else if(value <= 40){
                //          target_dist = -(27.87 + (37.48-27.87)*((double)value - 30.0)/10.0);
                //        }
                //        else if(value <= 50){
                //          target_dist = -(37.48 + (47.48-37.48)*((double)value - 40.0)/10.0);
                //        }
                //        else if(value <= 70){
                //          target_dist = -(47.48 + (67.26-47.48)*((double)value - 50.0)/20.0);
                //        }
                //        else if(value <= 100){
                //          target_dist = -(67.26 + (95.33-67.26)*((double)value - 100.0)/30.0);
                //        }
                //        else{
                //          target_dist = -((double)value - 5.0);
                //        }
                //        if(value <= 5){
                //          target_dist = -(double)value - 0.5;
                //        }
                //        else if(value < 30){
                //          target_dist = -(double)value * 30.0/31.5;
                //        }
                //        else if(value <= 40){
                //          target_dist = -(double)value * (double)value/((double)value + 1.5);
                //        }
                //        else if(value < 50){
                //          target_dist = -(double)value * (double)value/((double)value + (1.5 + (1.0 - 1.5)*(((double)value) - 40)/(50 - 40)));
                //        }
                //        else if(value < 70){
                //          target_dist = -(double)value * (double)value/((double)value + (1.0 + (3.0 - 1.0)*(((double)value) - 50)/(70 - 50)));
                //        }
                //        else if(value < 100){
                //          target_dist = -(double)value * (double)value/((double)value + (3.0 + (5.0 - 3.0)*(((double)value) - 70)/(100 - 70)));
                //        }
                //        else{
                //          target_dist = -(double)value * 100.0/105.0;
                //        }
            }
            PID_out = 0;
            PID_dist = 0;
            // Set straight distance PID controller (constants are Kp,Ki,Kd)
            PID(&Straight_PID, &travel_dist, &PID_dist, &target_dist, 0.011, 0.02, 0.0, _PID_P_ON_E, _PID_CD_DIRECT);

            PID_SetMode(&Straight_PID, _PID_MODE_AUTOMATIC);
            PID_SetSampleTime(&Straight_PID, 10);
            PID_SetOutputLimits(&Straight_PID, -1.0f + min_pwm_ratio, 1.0f - min_pwm_ratio);

            // Set straight line error correction PID controller (constants are Kp,Ki,Kd)
            PID(&StraightErr_PID, &current_angle, &PID_out, &target_angle, 0.05, 0.02, 0.0, _PID_P_ON_E, _PID_CD_DIRECT);

            PID_SetMode(&StraightErr_PID, _PID_MODE_AUTOMATIC);
            PID_SetSampleTime(&StraightErr_PID, 10);
            PID_SetOutputLimits(&StraightErr_PID, -max_pwm_dif, max_pwm_dif);

            // Start motor speed to 0
            __HAL_TIM_SetCompare(&htim8, TIM_CHANNEL_1, (double)0);
            __HAL_TIM_SetCompare(&htim8, TIM_CHANNEL_2, (double)0);

            // Loop until traveled distance exceeds target distance (target_is_before is to account for backward movements)
            while((2 * ((double)target_is_before - 0.5f) * (target_dist - travel_dist) > 0))
            {

                // For Debugging
                //        sprintf(sbuf, "%7d ", (int)current_pulse);
                //        HAL_UART_Transmit(&huart3, (uint8_t *)sbuf, 8, HAL_MAX_DELAY);
                //        sprintf(sbuf, "%7d", (int)target_pulse);
                //        HAL_UART_Transmit(&huart3, (uint8_t *)sbuf, 8, HAL_MAX_DELAY);
                //        HAL_UART_Transmit(&huart3, (uint8_t *)"\r\n", 2, HAL_MAX_DELAY);

                // Comput PID values
                PID_Compute(&Straight_PID);
                PID_Compute(&StraightErr_PID);
                if(Buffer[0] == 'F')
                {
                    // Change pwm ratio for both motors to correct if heading deviates from straight line
                    htim1.Instance ->CCR4 = 148.4 + (target_angle - current_angle) * 2.2;
                    left_pwm = (double)pwmVal * (1 + PID_out);
                    right_pwm = (double)pwmVal * (1 - PID_out);
                    //          __HAL_TIM_SetCompare(&htim8,TIM_CHANNEL_1,(double)pwmVal*(1+PID_out));
                    //          __HAL_TIM_SetCompare(&htim8,TIM_CHANNEL_2,(double)pwmVal*(1-PID_out));
                }
                else if(Buffer[0] == 'B')
                {
                    // Change pwm ratio for both motors to correct if heading deviates from straight line
                    htim1.Instance ->CCR4 = 148.4 + (current_angle - target_angle) * 2.2;
                    left_pwm = (double)pwmVal * (1 - PID_out);
                    right_pwm = (double)pwmVal * (1 + PID_out);
                    //          __HAL_TIM_SetCompare(&htim8,TIM_CHANNEL_1,(double)pwmVal*(1-PID_out));
                    //          __HAL_TIM_SetCompare(&htim8,TIM_CHANNEL_2,(double)pwmVal*(1+PID_out));
                }

                taskENTER_CRITICAL();
                if(PID_dist < 0)
                {
                    HAL_GPIO_WritePin(GPIOA, AIN1_Pin, GPIO_PIN_RESET);
                    HAL_GPIO_WritePin(GPIOA, AIN2_Pin, GPIO_PIN_SET);
                    HAL_GPIO_WritePin(GPIOA, BIN1_Pin, GPIO_PIN_RESET);
                    HAL_GPIO_WritePin(GPIOA, BIN2_Pin, GPIO_PIN_SET);

                    if(2 * ((double)target_is_before - 0.5f) * (target_dist - travel_dist) < 10)
					{
						__HAL_TIM_SetCompare(&htim8, TIM_CHANNEL_1, left_pwm * min_pwm_ratio * 0.6);
						__HAL_TIM_SetCompare(&htim8, TIM_CHANNEL_2, right_pwm * min_pwm_ratio * 0.6);
					}
                    else if(2 * ((double)target_is_before - 0.5f) * (target_dist - travel_dist) < 23)
                    {
                        __HAL_TIM_SetCompare(&htim8, TIM_CHANNEL_1, left_pwm * min_pwm_ratio);
                        __HAL_TIM_SetCompare(&htim8, TIM_CHANNEL_2, right_pwm * min_pwm_ratio);
                    }
                    else
                    {
                        __HAL_TIM_SetCompare(&htim8, TIM_CHANNEL_1, left_pwm * (min_pwm_ratio - PID_dist));
                        __HAL_TIM_SetCompare(&htim8, TIM_CHANNEL_2, right_pwm * (min_pwm_ratio - PID_dist));
                    }

                }
                else
                {
                    HAL_GPIO_WritePin(GPIOA, AIN2_Pin, GPIO_PIN_RESET);
                    HAL_GPIO_WritePin(GPIOA, AIN1_Pin, GPIO_PIN_SET);
                    HAL_GPIO_WritePin(GPIOA, BIN2_Pin, GPIO_PIN_RESET);
                    HAL_GPIO_WritePin(GPIOA, BIN1_Pin, GPIO_PIN_SET);

                    if(2 * ((double)target_is_before - 0.5f) * (target_dist - travel_dist) < 10)
					{
						__HAL_TIM_SetCompare(&htim8, TIM_CHANNEL_1, left_pwm * min_pwm_ratio * 0.6);
						__HAL_TIM_SetCompare(&htim8, TIM_CHANNEL_2, right_pwm * min_pwm_ratio * 0.6);
					}
                    else if(2 * ((double)target_is_before - 0.5f) * (target_dist - travel_dist) < 23)
                    {
                        __HAL_TIM_SetCompare(&htim8, TIM_CHANNEL_1, left_pwm * min_pwm_ratio);
                        __HAL_TIM_SetCompare(&htim8, TIM_CHANNEL_2, right_pwm * min_pwm_ratio);
                    }
                    else
                    {
                        __HAL_TIM_SetCompare(&htim8, TIM_CHANNEL_1, left_pwm * (min_pwm_ratio + PID_dist));
                        __HAL_TIM_SetCompare(&htim8, TIM_CHANNEL_2, right_pwm * (min_pwm_ratio + PID_dist));
                    }
                }
                taskEXIT_CRITICAL();
                osDelayUntil(pdMS_TO_TICKS(10));
            }
        }

        //    if(Buffer[0] == 'F'){
        //      HAL_GPIO_WritePin(GPIOA, AIN2_Pin, GPIO_PIN_RESET);
        //      HAL_GPIO_WritePin(GPIOA, AIN1_Pin, GPIO_PIN_SET);
        //      HAL_GPIO_WritePin(GPIOA, BIN2_Pin, GPIO_PIN_RESET);
        //      HAL_GPIO_WritePin(GPIOA, BIN1_Pin, GPIO_PIN_SET);
        //    }
        //    else if(Buffer[0] == 'B'){
        //      HAL_GPIO_WritePin(GPIOA, AIN1_Pin, GPIO_PIN_RESET);
        //      HAL_GPIO_WritePin(GPIOA, AIN2_Pin, GPIO_PIN_SET);
        //      HAL_GPIO_WritePin(GPIOA, BIN1_Pin, GPIO_PIN_RESET);
        //      HAL_GPIO_WritePin(GPIOA, BIN2_Pin, GPIO_PIN_SET);
        //    }
        //    else{
        //      __HAL_TIM_SetCompare(&htim8,TIM_CHANNEL_1,0);
        //      __HAL_TIM_SetCompare(&htim8,TIM_CHANNEL_2,0);
        //      continue;
        //    }
        //    switch(Buffer[1]){
        //    case 'L':
        //      htim1.Instance ->CCR4 = 91;
        //      HAL_Delay(500);
        ////      pulseneeded = angle*34*pwmVal_S/pwmVal_L;
        ////      pulseneeded = angle*0.115*59;
        //      //pulseneeded = angle*0.35*59*60/90;
        ////      current_heading = heading_rbt;
        ////      start_heading = current_heading;
        ////      if(Buffer[0] == 'F'){
        ////        if(current_heading < angle*100) target_heading = current_heading + 36000 - angle*100;
        ////        else target_heading = current_heading - angle*100;
        ////        angle_progress = 0;
        ////      }
        ////      else if(Buffer[0] == 'B'){
        ////        target_heading = current_heading + angle*100;
        ////        if(target_heading >= 36000) target_heading = target_heading - 36000;
        ////      }
        ////      __HAL_TIM_SetCompare(&htim8,TIM_CHANNEL_1,pwmVal_S);
        ////      __HAL_TIM_SetCompare(&htim8,TIM_CHANNEL_2,pwmVal_L);
        //      break;
        //    case 'R':
        //      htim1.Instance ->CCR4 = 240;
        //      HAL_Delay(500);
        ////      pulseneeded = angle*39.4;
        ////      pulseneeded = angle*0.408*59;
        //      //pulseneeded = angle*0.35*59*115/90;
        ////      current_heading = heading_rbt;
        ////      start_heading = current_heading;
        ////      if(Buffer[0] == 'F'){
        ////        target_heading = current_heading + angle*100;
        ////        if(target_heading >= 36000) target_heading = target_heading - 36000;
        ////      }
        ////      else if(Buffer[0] == 'B'){
        ////        if(current_heading < angle*100) target_heading = current_heading + 36000 - angle*100;
        ////        else target_heading = current_heading - angle*100;
        ////      }
        ////      __HAL_TIM_SetCompare(&htim8,TIM_CHANNEL_1,pwmVal_L);
        ////      __HAL_TIM_SetCompare(&htim8,TIM_CHANNEL_2,pwmVal_S);
        //      break;
        //    default:
        //      htim1.Instance ->CCR4 = 148.4;
        //      HAL_Delay(500);
        //      //pulseneeded = dist*68*1.03;
        //      pulseneeded = dist*45.4*10/6.55*70/66;
        //      __HAL_TIM_SetCompare(&htim8,TIM_CHANNEL_1,pwmVal);
        //      __HAL_TIM_SetCompare(&htim8,TIM_CHANNEL_2,pwmVal);
        //      pulsetotal = 0;
        //      do{
        //        if(HAL_GetTick()-tick > 50L){
        //          sprintf(hello, "pulseL:%5d\0", pulseneeded);
        //          OLED_ShowString(10,30,hello);
        //
        //          cnt2 = __HAL_TIM_GET_COUNTER(&htim2);
        //          if(__HAL_TIM_IS_TIM_COUNTING_DOWN(&htim2)){
        //            if(cnt2<cnt1)
        //            {
        //              pulse = cnt1 - cnt2;
        //              //sprintf(hello, "total1:%5d\0", pulsetotal);
        //            }
        //            else
        //            {
        //              pulse = (65535 - cnt2) + cnt1;
        //              //sprintf(hello, "total2:%5d\0", pulsetotal);
        //            }
        //          }
        //          else{
        //            if(cnt2>cnt1)
        //            {
        //              pulse = cnt2 - cnt1;
        //              //sprintf(hello, "total3:%5d\0", pulsetotal);
        //            }
        //            else
        //            {
        //              pulse = (65535 - cnt1) + cnt2;
        //              //sprintf(hello, "total4:%5d\0", pulsetotal);
        //            }
        //          }
        //          pulsetotal = (pulsetotal + pulse)%65535;
        //          //OLED_ShowString(10,40,hello);
        //          cnt1 = __HAL_TIM_GET_COUNTER(&htim2);
        //          tick = HAL_GetTick();
        //        }
        //      }while(pulsetotal < pulseneeded);
        //      __HAL_TIM_SetCompare(&htim8,TIM_CHANNEL_1,0);
        //      __HAL_TIM_SetCompare(&htim8,TIM_CHANNEL_2,0);
        //      Buffer[0] = 'd';
        //      HAL_UART_Transmit(&huart3,"R", sizeof("R"), HAL_MAX_DELAY);
        //      continue;
        //    }
        //    delta_angle = 0;
        //    angle_progress = 0;
        //    prev_heading = heading_rbt;
        //    if(Buffer[0] == 'F' && Buffer[1] == 'L'){
        //      do{
        //        __HAL_TIM_SetCompare(&htim8,TIM_CHANNEL_1,pwmVal_S*1.2);
        //        __HAL_TIM_SetCompare(&htim8,TIM_CHANNEL_2,pwmVal_L*1.2);
        //
        //        delta_angle = prev_heading - heading_rbt;
        //        prev_heading = heading_rbt;
        //        if(delta_angle < -18000) delta_angle = delta_angle + 36000;
        //        angle_progress = angle_progress + delta_angle;
        //        sprintf(hello, "currentL%d ", angle_progress);
        //        OLED_ShowString(10,40,hello);
        //        sprintf(hello, "targetL%d ", angle);
        //        OLED_Refresh_Gram();
        //        OLED_ShowString(10,50,hello);
        //        osDelay(1);
        //      }while(angle_progress < angle);
        //      __HAL_TIM_SetCompare(&htim8,TIM_CHANNEL_1,0);
        //      __HAL_TIM_SetCompare(&htim8,TIM_CHANNEL_2,0);
        //
        //      HAL_GPIO_WritePin(GPIOA, AIN1_Pin, GPIO_PIN_RESET);
        //      HAL_GPIO_WritePin(GPIOA, AIN2_Pin, GPIO_PIN_SET);
        //      HAL_GPIO_WritePin(GPIOA, BIN1_Pin, GPIO_PIN_RESET);
        //      HAL_GPIO_WritePin(GPIOA, BIN2_Pin, GPIO_PIN_SET);
        //
        //      do{
        //        __HAL_TIM_SetCompare(&htim8,TIM_CHANNEL_1,pwmVal_S*0.7);
        //        __HAL_TIM_SetCompare(&htim8,TIM_CHANNEL_2,pwmVal_L*0.7);
        //
        //        delta_angle = heading_rbt - prev_heading;
        //        prev_heading = heading_rbt;
        //        if(delta_angle < -18000) delta_angle = delta_angle + 36000;
        //        angle_progress = angle_progress - delta_angle;
        //        sprintf(hello, "currentS%d ", angle_progress);
        //        OLED_ShowString(10,40,hello);
        //        sprintf(hello, "targetS%d ", angle);
        //        OLED_ShowString(10,50,hello);
        //        OLED_Refresh_Gram();
        //        osDelay(1);
        //      }while(angle_progress > angle);
        //    }
        //    else if(Buffer[0] == 'B' && Buffer[1] == 'L'){
        //      heading_error = target_heading - current_heading;
        //      if(heading_error < -18000) heading_error = heading_error + 36000;
        //      do{
        //        __HAL_TIM_SetCompare(&htim8,TIM_CHANNEL_1,pwmVal_S*1.2);
        //        __HAL_TIM_SetCompare(&htim8,TIM_CHANNEL_2,pwmVal_L*1.2);
        //
        //        delta_angle = heading_rbt - prev_heading;
        //        prev_heading = heading_rbt;
        //        if(delta_angle < -18000) delta_angle = delta_angle + 36000;
        //        angle_progress = angle_progress - delta_angle;
        //        sprintf(hello, "currentL%d ", angle_progress);
        //        OLED_ShowString(10,40,hello);
        //        sprintf(hello, "targetL%d ", angle);
        //        OLED_ShowString(10,50,hello);
        //        OLED_Refresh_Gram();
        //        osDelay(1);
        //      }while(angle_progress > angle);
        //      __HAL_TIM_SetCompare(&htim8,TIM_CHANNEL_1,0);
        //      __HAL_TIM_SetCompare(&htim8,TIM_CHANNEL_2,0);
        //
        //      HAL_GPIO_WritePin(GPIOA, AIN2_Pin, GPIO_PIN_RESET);
        //      HAL_GPIO_WritePin(GPIOA, AIN1_Pin, GPIO_PIN_SET);
        //      HAL_GPIO_WritePin(GPIOA, BIN2_Pin, GPIO_PIN_RESET);
        //      HAL_GPIO_WritePin(GPIOA, BIN1_Pin, GPIO_PIN_SET);
        //
        //      do{
        //        __HAL_TIM_SetCompare(&htim8,TIM_CHANNEL_1,pwmVal_S*1.2);
        //        __HAL_TIM_SetCompare(&htim8,TIM_CHANNEL_2,pwmVal_L*1.2);
        //
        //        delta_angle = prev_heading - heading_rbt;
        //        prev_heading = heading_rbt;
        //        if(delta_angle < -18000) delta_angle = delta_angle + 36000;
        //        angle_progress = angle_progress + delta_angle;
        //        sprintf(hello, "currentL%d ", angle_progress);
        //        OLED_ShowString(10,40,hello);
        //        sprintf(hello, "targetL%d ", angle);
        //        OLED_ShowString(10,50,hello);
        //        OLED_Refresh_Gram();
        //        osDelay(1);
        //      }while(angle_progress < angle);
        ////      while(!is_right(target_heading, current_heading)){
        ////        current_heading = heading_rbt;
        ////        __HAL_TIM_SetCompare(&htim8,TIM_CHANNEL_1,pwmVal_S*0.5);
        ////        __HAL_TIM_SetCompare(&htim8,TIM_CHANNEL_2,pwmVal_L*0.5);
        ////        HAL_Delay(1);
        ////      }
        //    }
        //    if(Buffer[0] == 'F' && Buffer[1] == 'R'){
        //      while(abs(current_heading - target_heading ) > 100){
        //        current_heading = heading_rbt;
        //        __HAL_TIM_SetCompare(&htim8,TIM_CHANNEL_2,pwmVal_S*1);
        //        __HAL_TIM_SetCompare(&htim8,TIM_CHANNEL_1,pwmVal_L*1);
        //        HAL_Delay(1);
        //      }
        ////      while(is_right(target_heading, current_heading)){
        ////        current_heading = heading_rbt;
        ////        __HAL_TIM_SetCompare(&htim8,TIM_CHANNEL_2,pwmVal_S*0.5);
        ////        __HAL_TIM_SetCompare(&htim8,TIM_CHANNEL_1,pwmVal_L*0.5);
        ////        HAL_Delay(1);
        ////      }
        //    }
        //    else if(Buffer[0] == 'B' && Buffer[1] == 'R'){
        //      while(abs(current_heading - target_heading ) > 100){
        //        current_heading = heading_rbt;
        //        __HAL_TIM_SetCompare(&htim8,TIM_CHANNEL_2,pwmVal_S*1);
        //        __HAL_TIM_SetCompare(&htim8,TIM_CHANNEL_1,pwmVal_L*1);
        //        HAL_Delay(1);
        //      }
        ////      while(!is_right(target_heading, current_heading)){
        ////        current_heading = heading_rbt;
        ////        __HAL_TIM_SetCompare(&htim8,TIM_CHANNEL_2,pwmVal_S*0.5);
        ////        __HAL_TIM_SetCompare(&htim8,TIM_CHANNEL_1,pwmVal_L*0.5);
        ////        HAL_Delay(1);
        ////      }
        //    }
        __HAL_TIM_SetCompare(&htim8, TIM_CHANNEL_1, 0);   // Sets both wheel to 0 speed
        __HAL_TIM_SetCompare(&htim8, TIM_CHANNEL_2, 0);
        Buffer[0] = 'd';
        Buffer[1] = 'd';
        Buffer[2] = 'd';
        Buffer[3] = 'd';
        Buffer[4] = 'd';    // Sets start of instruction buffer to invalid command so the stm doesn't repeat itself
        HAL_UART_Transmit(&huart3, "R", sizeof("R"), HAL_MAX_DELAY);  // Sends ready signal to RPi
    }
    /* USER CODE END LeftMotor */
}

void GyroFunc(void *argument)
{
    /* USER CODE BEGIN GyroFunc */
    uint8_t *status = IMU_Initialise(&imu, &hi2c1, &huart3);  // Initialize gyro
    uint8_t dispBuff[20];

    // Calibrate gyroscope
    taskENTER_CRITICAL();
    sprintf(dispBuff, "Calibr Gyro.."); // Prints current heading angle (x1000)
    OLED_ShowString(10, 30, dispBuff);
    //  OLED_Refresh_Gram();
    osDelay(2000);
    Gyro_calibrateHeading(&imu, pdMS_TO_TICKS(21)); // Sample gyro data every 21ms for 1024 samples and use as offset
    osDelay(2000);
    taskEXIT_CRITICAL();
    is_calibrated = 1;  // Set finish calibration flag to start running other task
    char sbuf[10];

    int32_t encoder_prev = -1, encoder_cur = -1, dif = 0;
    HAL_TIM_Encoder_Start(&htim2, TIM_CHANNEL_ALL);

    /* Infinite loop */
    for(;;)
    {
        // Read gyro value
        taskENTER_CRITICAL();
        IMU_GyroReadHeading(&imu);
        taskEXIT_CRITICAL();

        // Update heading values
        current_gyro = current_gyro + imu.gyro[2];    // Manual gyro offset
        current_angle = current_gyro * 1.0f;    // Increase if robot turns too much

        // Check if it's the first time running
        if(encoder_prev == -1 || encoder_cur == -1)
        {
            encoder_cur = __HAL_TIM_GET_COUNTER(&htim2);
            encoder_prev = encoder_cur;
        }
        else
        {
            encoder_prev = encoder_cur;
            encoder_cur = __HAL_TIM_GET_COUNTER(&htim2);
            // Deal with the encoder value wrapping around at 65535
            if(__HAL_TIM_IS_TIM_COUNTING_DOWN(&htim2))
            {
                if(encoder_cur <= encoder_prev)
                {
                    dif = encoder_prev - encoder_cur;
                }
                else
                {
                    dif = encoder_prev + (65535 - encoder_cur);
                }
            }
            else
            {
                if(encoder_cur >= encoder_prev)
                {
                    dif = encoder_prev - encoder_cur;
                }
                else
                {
                    dif = encoder_prev - (65535 + encoder_cur);
                }
            }
            encoder_position = encoder_position + dif;
        }
        //    travel_dist = (double)encoder_position * 0.01310615989;   // Edit constant to calibrate straight line distance
        travel_dist = (double)encoder_position * 0.01308996939;
        sprintf(dispBuff, "%5d        ", (int)current_angle * 1000);  // Prints current heading angle (x1000)
        OLED_ShowString(10, 30, dispBuff);

        if(!HAL_GPIO_ReadPin(SW_GPIO_Port, SW_Pin))
        {
            encoder_position = 0;
            travel_dist = 0;
            encoder_prev = -1;
            encoder_cur = -1;
            dif = 0;
            current_gyro = 0;
            current_angle = 0;
            t_heading = 0;
            taskENTER_CRITICAL();
            sprintf(dispBuff, "Calibr Gyro.."); // Prints current heading angle (x1000)
            OLED_ShowString(10, 30, dispBuff);
            osDelay(2000);
            Gyro_calibrateHeading(&imu, pdMS_TO_TICKS(21)); // Sample gyro data every 21ms for 1024 samples and use as offset
            osDelay(2000);
            taskEXIT_CRITICAL();
        }
        // For debugging
        //      sprintf(sbuf, "%7d ", (int)(encoder_position));
        //      HAL_UART_Transmit(&huart3, (uint8_t *)sbuf, 8, HAL_MAX_DELAY);
        //      sprintf(sbuf, "%7d ", (int)(encoder_cur));
        //      HAL_UART_Transmit(&huart3, (uint8_t *)sbuf, 8, HAL_MAX_DELAY);

            sprintf(sbuf, "%7d ", (int)(current_angle*100));
            HAL_UART_Transmit(&huart3, (uint8_t *)sbuf, 8, HAL_MAX_DELAY);
        //    sprintf(sbuf, "%7d ", (int)((imu.gyro[2])*1000));
        //    HAL_UART_Transmit(&huart3, (uint8_t *)sbuf, 8, HAL_MAX_DELAY);
        ////    sprintf(sbuf, "%9ul", (DWT->CYCCNT));
        ////    HAL_UART_Transmit(&huart3, (uint8_t *)sbuf, 9, HAL_MAX_DELAY);
            sprintf(sbuf, "\r\n");
            HAL_UART_Transmit(&huart3, (uint8_t *)sbuf, 2, HAL_MAX_DELAY);

        osDelayUntil(pdMS_TO_TICKS(10));
    }
    /* USER CODE END GyroFunc */
}

void sonic_sensor(void *argument)
{
    /* USER CODE BEGIN sonic_sensor */
    uint8_t hello[20];
    /* Infinite loop */
    for(;;)
    {
        HCSR04_Read();
        sprintf(hello, "Sonic:%5d\0", Distance);
        OLED_ShowString(10, 40, hello);
        osDelayUntil(100);
    }
    /* USER CODE END sonic_sensor */
}

void Error_Handler(void)
{
    __disable_irq();
    while (1)
    {
    }
}
